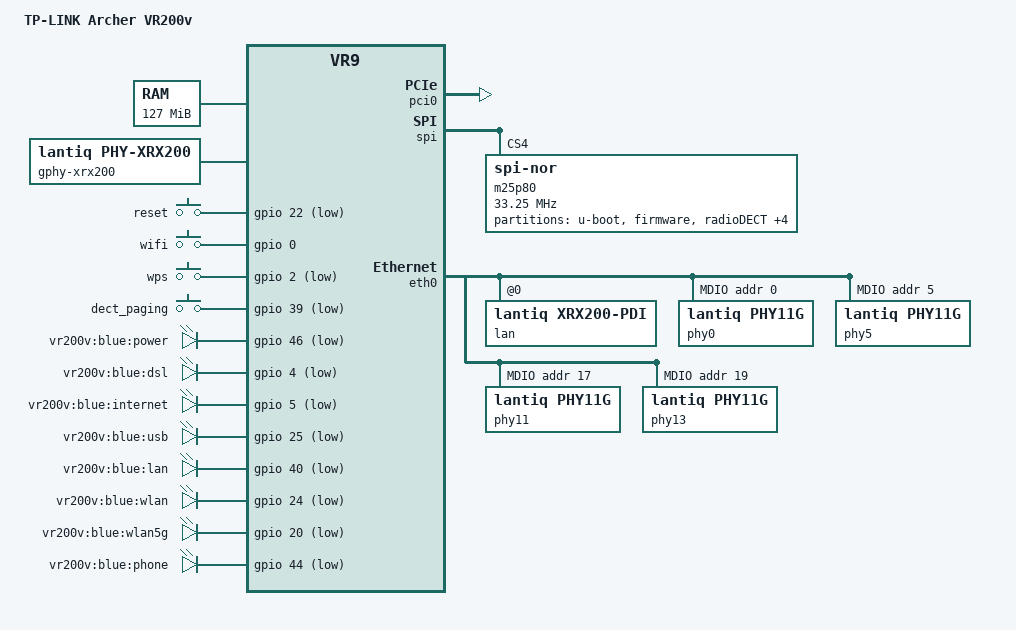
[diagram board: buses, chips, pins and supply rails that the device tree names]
/dts-v1/;

#include "vr9.dtsi"

#include <dt-bindings/input/input.h>

/ {
	compatible = "tplink,vr200v", "lantiq,xway", "lantiq,vr9";
	model = "TP-LINK Archer VR200v";

	chosen {
		bootargs = "console=ttyLTQ0,115200";
	};

	aliases {
		led-boot = &power;
		led-failsafe = &power;

		led-dsl = &dsl;
		led-internet = &internet;
		led-usb = &usb;
		led-usb2 = &usb;
	};

	memory@0 {
		reg = <0x0 0x7f00000>;
	};

	fpi@10000000 {
		gpio: pinmux@E100B10 {
			pinctrl-names = "default";
			pinctrl-0 = <&state_default>;

			state_default: pinmux {
				mdio {
					lantiq,groups = "mdio";
					lantiq,function = "mdio";
				};
				gphy-leds {
					lantiq,groups = "gphy0 led1", "gphy1 led1";
					lantiq,function = "gphy";
					lantiq,pull = <2>;
					lantiq,open-drain = <0>;
					lantiq,output = <1>;
				};
				phy-rst {
					lantiq,pins = "io42";
					lantiq,pull = <0>;
					lantiq,open-drain = <0>;
					lantiq,output = <1>;
				};
				pcie-rst {
					lantiq,pins = "io38";
					lantiq,pull = <0>;
					lantiq,output = <1>;
				};
			};
			pins_spi_default: pins_spi_default {
				spi_in {
					lantiq,groups = "spi_di";
					lantiq,function = "spi";
				};
				spi_out {
					lantiq,groups = "spi_do", "spi_clk",
						"spi_cs4";
					lantiq,function = "spi";
					lantiq,output = <1>;
				};
			};
		};

		ifxhcd@E101000 {
			status = "okay";
			gpios = <&gpio 33 GPIO_ACTIVE_HIGH>;
			lantiq,portmask = <0x3>;
		};

		ifxhcd@E106000 {
			status = "okay";
			gpios = <&gpio 33 GPIO_ACTIVE_HIGH>;
		};

		pci0: pci@E105400 {
			status = "okay";
			gpio-reset = <&gpio 21 GPIO_ACTIVE_HIGH>;
		};
	};

	gphy-xrx200 {
		compatible = "lantiq,phy-xrx200";
		firmware = "lantiq/xrx200_phy11g_a22.bin";
		phys = [ 00 01 ];
	};

	gpio-keys-polled {
		compatible = "gpio-keys-polled";
		#address-cells = <1>;
		#size-cells = <0>;
		poll-interval = <100>;
		reset {
			label = "reset";
			gpios = <&gpio 22 GPIO_ACTIVE_LOW>;
			linux,code = <KEY_RESTART>;
		};

		wifi {
			label = "wifi";
			gpios = <&gpio 0 GPIO_ACTIVE_HIGH>;
			linux,code = <KEY_RFKILL>;
			linux,input-type = <EV_SW>;
		};

		wps {
			label = "wps";
			gpios = <&gpio 2 GPIO_ACTIVE_LOW>;
			linux,code = <KEY_WPS_BUTTON>;
		};

		dect_paging {
			label = "dect_paging";
			gpios = <&gpio 39 GPIO_ACTIVE_LOW>;
			linux,code = <KEY_PHONE>;
		};
	};

	gpio-leds {
		compatible = "gpio-leds";
		power: power {
			label = "vr200v:blue:power";
			gpios = <&gpio 46 GPIO_ACTIVE_LOW>;
		};
		dsl: dsl {
			label = "vr200v:blue:dsl";
			gpios = <&gpio 4 GPIO_ACTIVE_LOW>;
		};
		internet: internet {
			label = "vr200v:blue:internet";
			gpios = <&gpio 5 GPIO_ACTIVE_LOW>;
		};
		usb: usb {
			label = "vr200v:blue:usb";
			gpios = <&gpio 25 GPIO_ACTIVE_LOW>;
		};
		eth {
			label = "vr200v:blue:lan";
			gpios = <&gpio 40 GPIO_ACTIVE_LOW>;
		};
		wlan {
			label = "vr200v:blue:wlan";
			gpios = <&gpio 24 GPIO_ACTIVE_LOW>;
		};
		wlan5g {
			label = "vr200v:blue:wlan5g";
			gpios = <&gpio 20 GPIO_ACTIVE_LOW>;
		};
		phone {
			label = "vr200v:blue:phone";
			gpios = <&gpio 44 GPIO_ACTIVE_LOW>;
		};
	};
};

&spi {
	pinctrl-names = "default";
	pinctrl-0 = <&pins_spi_default>;

	status = "ok";

	m25p80@4 {
		#address-cells = <1>;
		#size-cells = <1>;
		compatible = "jedec,spi-nor";
		reg = <4 0>;
		spi-max-frequency = <33250000>;
		m25p,fast-read;

		partitions {
			compatible = "fixed-partitions";
			#address-cells = <1>;
			#size-cells = <1>;

			partition@0 {
				reg = <0x0 0x20000>;
				label = "u-boot";
				read-only;
			};

			partition@20000 {
				reg = <0x20000 0xf90000>;
				label = "firmware";
			};

			partition@fb0000 {
				reg = <0xfb0000 0x10000>;
				label = "radioDECT";
				read-only;
			};

			partition@fc0000 {
				reg = <0xfc0000 0x10000>;
				label = "config";
				read-only;
			};

			romfile: partition@fd0000 {
				reg = <0xfd0000 0x10000>;
				label = "romfile";
				read-only;
			};

			partition@fe0000 {
				reg = <0xfe0000 0x10000>;
				label = "rom";
				read-only;
			};

			partition@ff0000 {
				reg = <0xff0000 0x10000>;
				label = "radio";
				read-only;
			};
		};
	};
};

&eth0 {
	lan: interface@0 {
		compatible = "lantiq,xrx200-pdi";
		#address-cells = <1>;
		#size-cells = <0>;
		reg = <0>;
		mtd-mac-address = <&romfile 0xf100>;
		lantiq,switch;

		ethernet@0 {
			compatible = "lantiq,xrx200-pdi-port";
			reg = <0>;
			phy-mode = "rgmii";
			phy-handle = <&phy0>;
			// gpios = <&gpio 42 GPIO_ACTIVE_LOW>;
		};
		ethernet@5 {
			compatible = "lantiq,xrx200-pdi-port";
			reg = <5>;
			phy-mode = "rgmii";
			phy-handle = <&phy5>;
		};
		ethernet@2 {
			compatible = "lantiq,xrx200-pdi-port";
			reg = <2>;
			phy-mode = "gmii";
			phy-handle = <&phy11>;
		};
		ethernet@3 {
			compatible = "lantiq,xrx200-pdi-port";
			reg = <4>;
			phy-mode = "gmii";
			phy-handle = <&phy13>;
		};
	};

	mdio@0 {
		#address-cells = <1>;
		#size-cells = <0>;
		compatible = "lantiq,xrx200-mdio";
		phy0: ethernet-phy@0 {
			reg = <0x0>;
			compatible = "lantiq,phy11g", "ethernet-phy-ieee802.3-c22";
		};
		phy5: ethernet-phy@5 {
			reg = <0x5>;
			compatible = "lantiq,phy11g", "ethernet-phy-ieee802.3-c22";
		};
		phy11: ethernet-phy@11 {
			reg = <0x11>;
			compatible = "lantiq,phy11g", "ethernet-phy-ieee802.3-c22";
		};
		phy13: ethernet-phy@13 {
			reg = <0x13>;
			compatible = "lantiq,phy11g", "ethernet-phy-ieee802.3-c22";
		};
	};
};
